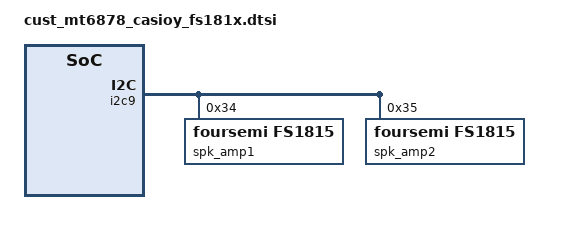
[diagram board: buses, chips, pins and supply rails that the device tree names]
/* platform device */
&odm {
	frsm_amp: frsm_amp {
		compatible = "foursemi,frsm-amp";
		frsm,amp-ndev = <2>;
		frsm,class-enable;
		status = "ok";
	};
};

/* i2c device */
&i2c9 {
	spk_amp1: fs18xx@34 {
		compatible = "foursemi,fs1815";
		reg = <0x34>;
		spkr-id = <2>;
		fwm-name = "frsm-spk2.bin";
		status = "okay";
	};

	spk_amp2: fs18xx@35 {
		compatible = "foursemi,fs1815";
		reg = <0x35>;
		spkr-id = <1>;
		fwm-name = "frsm-spk1.bin";
		status = "okay";
	};
};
